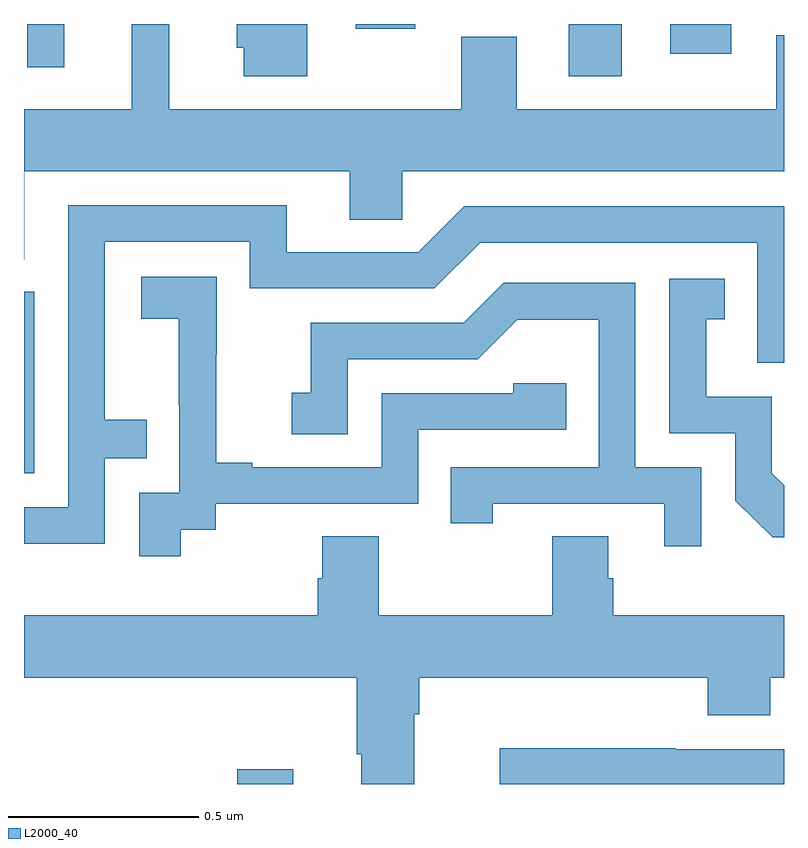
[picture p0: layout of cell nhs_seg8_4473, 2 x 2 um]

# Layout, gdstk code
import gdstk
lib = gdstk.Library(unit=1e-6, precision=1e-09)
def R(c, l, rs):  # rectangles x0, y0, x1, y1
    for r in rs: c.add(gdstk.rectangle(r[:2], r[2:], *l))
def P(c, l, *ps):  # polygons
    for p in ps: c.add(gdstk.Polygon(p, *l))
L2000_40 = (2000, 40)

nhs_seg8_4473 = lib.new_cell('nhs_seg8_4473')
R(nhs_seg8_4473, L2000_40, [(171.561,1102.9,171.709,1102.939), (171,1103.718,171.027,1104.195), (172.433,1104.762,172.573,1104.9), (171.009,1104.786,171.106,1104.9), (172.7,1104.822,172.861,1104.9), (171.873,1104.888,172.029,1104.9)])
P(nhs_seg8_4473, L2000_40, [(171.001,1104.512),(171.857,1104.512),(171.857,1104.385),(171.996,1104.385),(171.996,1104.512),(173,1104.512),(173,1104.871),(172.979,1104.871),(172.979,1104.676),(172.297,1104.676),(172.297,1104.866),(172.15,1104.866),(172.15,1104.676),(171.382,1104.676),(171.382,1104.9),(171.284,1104.9),(171.284,1104.676),(171,1104.676),(171,1104.28),(171.001,1104.28)],
  [(171.745,1104.9),(171.56,1104.9),(171.56,1104.837),(171.578,1104.837),(171.578,1104.762),(171.745,1104.762)],
  [(171.213,1103.757),(171.323,1103.757),(171.323,1103.858),(171.213,1103.858),(171.213,1104.327),(171.594,1104.327),(171.594,1104.204),(172.08,1104.204),(172.2,1104.324),(172.929,1104.324),(172.929,1104.009),(173,1104.009),(173,1104.42),(172.158,1104.42),(172.038,1104.3),(171.691,1104.3),(171.691,1104.423),(171.117,1104.423),(171.117,1103.628),(171,1103.628),(171,1103.532),(171.213,1103.532)],
  [(171.412,1103.569),(171.504,1103.569),(171.504,1103.637),(172.038,1103.637),(172.038,1103.832),(172.427,1103.832),(172.427,1103.955),(172.287,1103.955),(172.287,1103.928),(171.942,1103.928),(171.942,1103.733),(171.601,1103.733),(171.601,1103.746),(171.506,1103.746),(171.506,1104.029),(171.507,1104.029),(171.507,1104.235),(171.309,1104.235),(171.309,1104.125),(171.407,1104.125),(171.407,1103.897),(171.408,1103.897),(171.408,1103.667),(171.303,1103.667),(171.303,1103.499),(171.412,1103.499)],
  [(173,1103.686),(172.968,1103.718),(172.968,1103.919),(172.795,1103.919),(172.795,1104.123),(172.844,1104.123),(172.844,1104.229),(172.698,1104.229),(172.698,1103.823),(172.872,1103.823),(172.872,1103.646),(172.97,1103.549),(173,1103.549)],
  [(172.782,1103.733),(172.608,1103.733),(172.608,1104.219),(172.262,1104.219),(172.157,1104.114),(171.754,1104.114),(171.754,1103.929),(171.705,1103.929),(171.705,1103.82),(171.852,1103.82),(171.852,1104.018),(172.194,1104.018),(172.298,1104.122),(172.512,1104.122),(172.512,1103.733),(172.123,1103.733),(172.123,1103.586),(172.234,1103.586),(172.234,1103.637),(172.685,1103.637),(172.685,1103.526),(172.782,1103.526)],
  [(172.027,1103.084),(172.04,1103.084),(172.04,1103.18),(172.799,1103.18),(172.799,1103.081),(172.964,1103.081),(172.964,1103.18),(173,1103.18),(173,1103.344),(172.55,1103.344),(172.55,1103.442),(172.537,1103.442),(172.537,1103.552),(172.39,1103.552),(172.39,1103.344),(171.933,1103.344),(171.933,1103.552),(171.785,1103.552),(171.785,1103.442),(171.773,1103.442),(171.773,1103.344),(171,1103.344),(171,1103.18),(171.875,1103.18),(171.875,1102.978),(171.887,1102.978),(171.887,1102.9),(172.027,1102.9)],
  [(173,1102.992),(172.715,1102.992),(172.715,1102.994),(172.252,1102.994),(172.252,1102.9),(173,1102.9)])

lib.write_gds('nhs_seg8_4473.gds')
